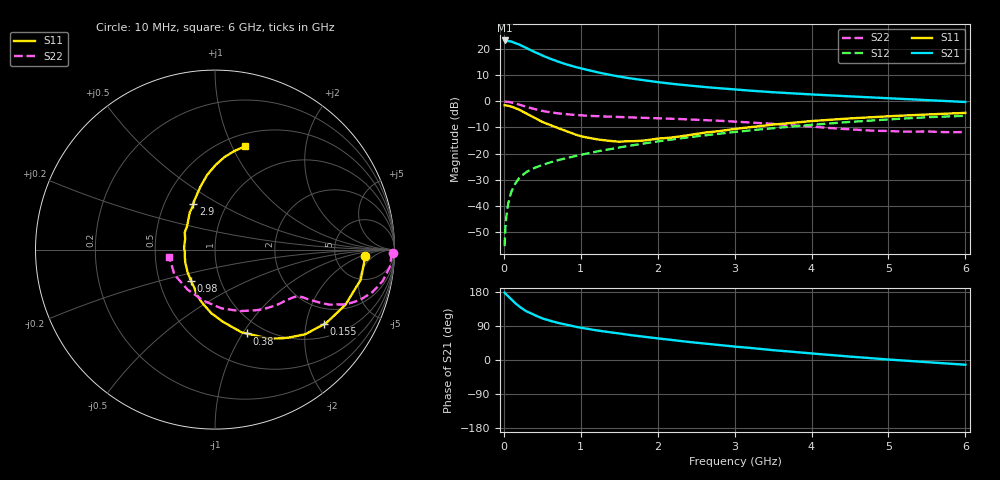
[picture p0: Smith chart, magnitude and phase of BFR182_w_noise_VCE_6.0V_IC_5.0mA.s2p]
! Infineon Technologies  Discrete & RF Semiconductors
! BFR182
! VCE =  6.0 V,  IC =  5.0 mA
! Common Emitter S-Parameters:  Nov 2015
# GHz  S  MA  R  50
!  f  S11  S21  S12  S22
! GHz  MAG  ANG  MAG  ANG  MAG  ANG  MAG  ANG
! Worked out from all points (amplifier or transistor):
!   210 points, 10 MHz to 6 GHz, reference 50 ohm
!   highest |S21| = 23.2 dB at 10 MHz (marker M1)
!   |S21| within 3 dB of that: start of sweep to 297 MHz
!   unconditionally stable (mu >= 1): 1.11 GHz to 2.905 GHz
!   at 185 MHz: K = 0.33, MSG = 25.9 dB, |S12| = -30.0 dB
!   at 1.52 GHz: K = 1.05, MAG = 12.1 dB, |S12| = -17.6 dB
!   at 6 GHz: K = 0.88, MSG = 2.6 dB, |S12| = -5.5 dB
!   lowest NFmin = 1.20 dB at 450 MHz
!   S11 on the Smith chart (normalised r, x): 10 MHz: 11, -3; 155 MHz: 1.41, -2.55; 380 MHz: 0.84, -1.04; 980 MHz: 0.72, -0.26; 2.9 GHz: 0.70, +0.39; 6 GHz: 0.63, +1.12
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0.01  0.8375 -2.6  14.51 177.6  0.0017 93.6  0.9904 -1.2
0.02  0.8345 -4.7  14.17 175.3  0.0038 92.3  0.9832 -2.3
0.04  0.8293 -9.4  14.2 171.4  0.0077 84.4  0.9802 -4.5
0.05  0.8288 -11.8  14.24 169.4  0.0097 82.9  0.9793 -5.6
0.1  0.7889 -23.0  13.83 159.4  0.0189 79.1  0.9501 -10.7
0.155  0.7364 -34.3  12.8 148.7  0.0275 72.0  0.9039 -15.4
0.2  0.6893 -43.2  12.15 141.3  0.034 69.6  0.8621 -18.6
0.24  0.6404 -49.9  11.38 135.6  0.0385 66.8  0.8251 -20.8
0.3  0.5775 -59.1  10.22 127.9  0.045 64.3  0.7754 -23.2
0.38  0.4997 -69.3  9.012 120.4  0.0516 62.1  0.7207 -25.2
0.5  0.4025 -84.1  7.451 109.7  0.0604 60.7  0.6519 -26.9
0.6  0.355 -93.3  6.509 103.5  0.0677 60.3  0.6148 -27.5
0.8  0.2731 -111.7  5.128 93.3  0.081 60.3  0.5678 -28.3
0.98  0.2191 -127.5  4.332 86.0  0.0932 61.2  0.5401 -29.0
1.02  0.2115 -131.5  4.189 84.6  0.096 61.4  0.5353 -29.2
1.4  0.1737 -166.0  3.146 72.7  0.1228 62.3  0.5059 -32.1
2.02  0.194 149.6  2.302 56.6  0.1722 60.9  0.4723 -39.1
2.9  0.2816 115.4  1.724 37.6  0.2493 56.0  0.4166 -53.6
3.1  0.3069 110.8  1.636 33.7  0.2676 54.2  0.4006 -57.7
4.1  0.4284 94.6  1.325 15.6  0.3634 44.6  0.3191 -87.1
5.1  0.5252 83.2  1.127 -0.1  0.4588 32.7  0.2658 -128.9
6  0.5989 73.8  0.968 -12.5  0.528 20.0  0.2587 -171.3
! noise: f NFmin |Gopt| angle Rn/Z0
0.45  1.2  0.27  37  0.3
0.9  1.3  0.25  75  0.23
1.8  1.9  0.21  145  0.2
